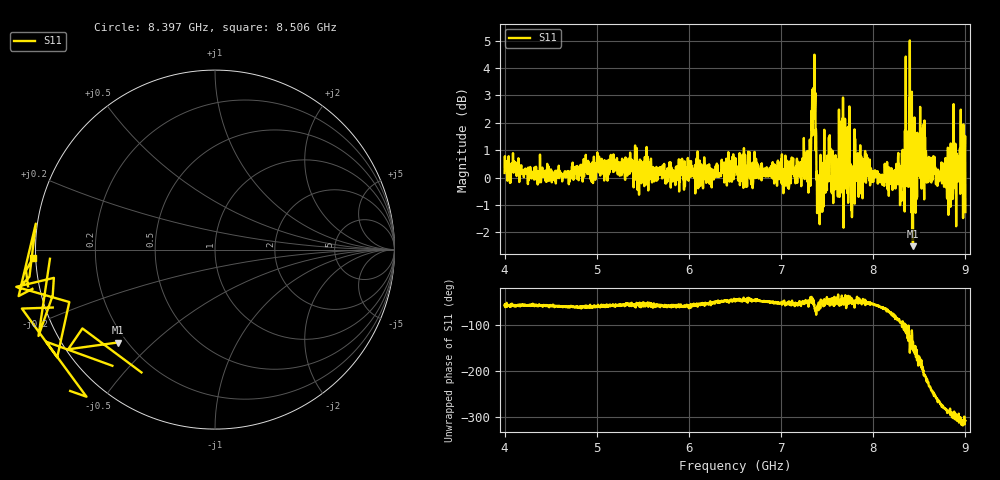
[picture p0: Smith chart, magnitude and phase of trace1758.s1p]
! Created with skrf 1.8.0 (http://scikit-rf.org).
# Hz S RI R 50.0
!freq ReS11 ImS11
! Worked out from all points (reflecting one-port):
!   1601 points, 4 GHz to 9 GHz, reference 50 ohm
!   lowest |S11| = -2.5 dB at 8.431 GHz (marker M1), VSWR 7.00, Z = 8.26 - j19.6 ohm
!   phase of S11 starts at -57 deg and turns -251 deg over the sweep
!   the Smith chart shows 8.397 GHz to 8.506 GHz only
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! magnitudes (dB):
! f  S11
! 4 GHz  0.2
! 4.625 GHz  -0.1
! 5.25 GHz  0.1
! 5.875 GHz  0.3
! 6.5 GHz  0.5
! 7.125 GHz  0.7
! 7.297 GHz  -0.5
! 7.353 GHz  2.2
! 7.409 GHz  -0.4
! 7.519 GHz  1.5
! 7.6 GHz  -0.4
! 7.669 GHz  1.3
! 7.75 GHz  0.0
! 7.775 GHz  0.4
! 7.822 GHz  0.1
! 7.925 GHz  0.8
! 8.316 GHz  0.5
! 8.334 GHz  -0.2
! 8.375 GHz  -0.3
! 8.431 GHz  -2.5
! 8.447 GHz  2.2
! 8.459 GHz  -1.3
! 8.519 GHz  1.8
! 8.606 GHz  0.2
! 8.812 GHz  1.1
! 8.956 GHz  0.0
! 8.972 GHz  0.4
! 9 GHz  -1.3
